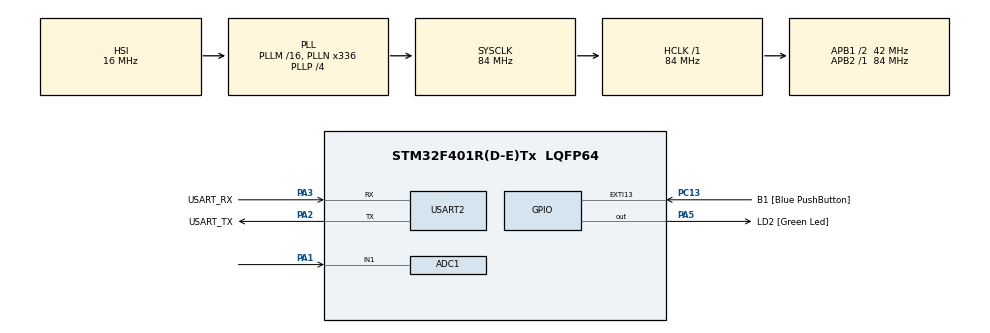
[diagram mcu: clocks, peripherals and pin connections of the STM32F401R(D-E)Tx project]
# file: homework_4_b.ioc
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ADC1.Channel-0\#ChannelRegularConversion=ADC_CHANNEL_1
ADC1.ExternalTrigConv=ADC_EXTERNALTRIGCONV_T2_TRGO
ADC1.NbrOfConversionFlag=1
ADC1.Rank-0\#ChannelRegularConversion=1
ADC1.SamplingTime-0\#ChannelRegularConversion=ADC_SAMPLETIME_480CYCLES
ADC1.master=1
Mcu.Family=STM32F4
Mcu.Name=STM32F401R(D-E)Tx
Mcu.Package=LQFP64
NVIC.ADC_IRQn=true\:0\:0\:false\:false\:true\:true\:true\:true
NVIC.PriorityGroup=NVIC_PRIORITYGROUP_0
PA1.Signal=SharedAnalog_PA1
PA13.GPIO_Label=TMS
PA13.Mode=Serial_Wire
PA13.Signal=SYS_JTMS-SWDIO
PA14.GPIO_Label=TCK
PA14.Mode=Serial_Wire
PA14.Signal=SYS_JTCK-SWCLK
PA2.GPIO_Label=USART_TX
PA2.GPIO_Mode=GPIO_MODE_AF_PP
PA2.GPIO_PuPd=GPIO_NOPULL
PA2.GPIO_Speed=GPIO_SPEED_FREQ_LOW
PA2.Mode=Asynchronous
PA2.Signal=USART2_TX
PA3.GPIO_Label=USART_RX
PA3.GPIO_Mode=GPIO_MODE_AF_PP
PA3.GPIO_PuPd=GPIO_NOPULL
PA3.GPIO_Speed=GPIO_SPEED_FREQ_LOW
PA3.Mode=Asynchronous
PA3.Signal=USART2_RX
PA5.GPIO_Label=LD2 [Green Led]
PA5.GPIO_Mode=GPIO_MODE_OUTPUT_PP
PA5.GPIO_PuPd=GPIO_NOPULL
PA5.GPIO_Speed=GPIO_SPEED_FREQ_LOW
PA5.Signal=GPIO_Output
PB3.GPIO_Label=SWO
PB3.Signal=SYS_JTDO-SWO
PC13-ANTI_TAMP.GPIO_Label=B1 [Blue PushButton]
PC13-ANTI_TAMP.GPIO_ModeDefaultEXTI=GPIO_MODE_IT_FALLING
PC13-ANTI_TAMP.GPIO_PuPd=GPIO_NOPULL
PC13-ANTI_TAMP.Signal=GPXTI13
PC14-OSC32_IN.Mode=LSE-External-Oscillator
PC14-OSC32_IN.Signal=RCC_OSC32_IN
PC15-OSC32_OUT.Mode=LSE-External-Oscillator
PC15-OSC32_OUT.Signal=RCC_OSC32_OUT
PH0\ -\ OSC_IN.Mode=HSE-External-Clock-Source
PH0\ -\ OSC_IN.Signal=RCC_OSC_IN
PH1\ -\ OSC_OUT.Mode=HSE-External-Clock-Source
PH1\ -\ OSC_OUT.Signal=RCC_OSC_OUT
ProjectManager.HeapSize=0x200
ProjectManager.StackSize=0x400
ProjectManager.TargetToolchain=STM32CubeIDE
RCC.48MHZClocksFreq_Value=48000000
RCC.AHBFreq_Value=84000000
RCC.APB1CLKDivider=RCC_HCLK_DIV2
RCC.APB1Freq_Value=42000000
RCC.APB1TimFreq_Value=84000000
RCC.APB2Freq_Value=84000000
RCC.APB2TimFreq_Value=84000000
RCC.CortexFreq_Value=84000000
RCC.HCLKFreq_Value=84000000
RCC.HSE_VALUE=8000000
RCC.HSI_VALUE=16000000
RCC.PLLN=336
RCC.PLLP=RCC_PLLP_DIV4
RCC.PLLQ=7
RCC.SYSCLKFreq_VALUE=84000000
RCC.SYSCLKSource=RCC_SYSCLKSOURCE_PLLCLK
RCC.VCOOutputFreq_Value=336000000
SH.SharedAnalog_PA1.0=GPIO_Analog
SH.SharedAnalog_PA1.1=ADC1_IN1,IN1
TIM2.AutoReloadPreload=TIM_AUTORELOAD_PRELOAD_ENABLE
TIM2.Period=84000000-1
TIM2.TIM_MasterOutputTrigger=TIM_TRGO_UPDATE
USART2.VirtualMode=VM_ASYNC
VP_TIM2_VS_ClockSourceINT.Mode=Internal
board=NUCLEO-F401RE

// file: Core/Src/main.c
/* USER CODE BEGIN Header */
/**
  ******************************************************************************
  * @file           : main.c
  * @brief          : Main program body
  ******************************************************************************
  * @attention
  *
  * Copyright (c) 2022 STMicroelectronics.
  * All rights reserved.
  *
  * This software is licensed under terms that can be found in the LICENSE file
  * in the root directory of this software component.
  * If no LICENSE file comes with this software, it is provided AS-IS.
  *
  ******************************************************************************
  */
/* USER CODE END Header */
#include "main.h"

/* USER CODE BEGIN Includes */
#include "stdio.h"
#include "string.h"
/* USER CODE END Includes */

/* USER CODE BEGIN PTD */
typedef enum {false, true} bool;
/* USER CODE END PTD */

ADC_HandleTypeDef hadc1;

TIM_HandleTypeDef htim2;

UART_HandleTypeDef huart2;

void SystemClock_Config(void);
static void MX_GPIO_Init(void);
static void MX_USART2_UART_Init(void);
static void MX_ADC1_Init(void);
static void MX_TIM2_Init(void);

/* USER CODE BEGIN 0 */
void HAL_ADC_ConvCpltCallback(ADC_HandleTypeDef* calling_adc){
  int conversion;
  int string_length;
  float voltage;
  char output_string[64];
  if(calling_adc==&hadc1){
    conversion=HAL_ADC_GetValue(&hadc1);
    voltage=conversion*3.3/4096.0;
    snprintf(output_string, sizeof(output_string), "Voltage: %f V\r\n", voltage);
    string_length=strlen(output_string);
    HAL_UART_Transmit(&huart2, output_string, string_length, 100);
    //HAL_ADC_Stop_IT(&hadc1);
  }
}
/* USER CODE END 0 */

int main(void)
{

  /* MCU Configuration--------------------------------------------------------*/

  /* Reset of all peripherals, Initializes the Flash interface and the Systick. */
  HAL_Init();

  /* Configure the system clock */
  SystemClock_Config();

  /* Initialize all configured peripherals */
  MX_GPIO_Init();
  MX_USART2_UART_Init();
  MX_ADC1_Init();
  MX_TIM2_Init();
  /* USER CODE BEGIN 2 */
  HAL_ADC_Start_IT(&hadc1);
  HAL_TIM_Base_Start(&htim2);
  /* USER CODE END 2 */

  /* Infinite loop */
  while (1)
  {

  }
}

void SystemClock_Config(void)
{
  RCC_OscInitTypeDef RCC_OscInitStruct = {0};
  RCC_ClkInitTypeDef RCC_ClkInitStruct = {0};

  /** Configure the main internal regulator output voltage
  */
  __HAL_RCC_PWR_CLK_ENABLE();
  __HAL_PWR_VOLTAGESCALING_CONFIG(PWR_REGULATOR_VOLTAGE_SCALE2);

  /** Initializes the RCC Oscillators according to the specified parameters
  * in the RCC_OscInitTypeDef structure.
  */
  RCC_OscInitStruct.OscillatorType = RCC_OSCILLATORTYPE_HSI;
  RCC_OscInitStruct.HSIState = RCC_HSI_ON;
  RCC_OscInitStruct.HSICalibrationValue = RCC_HSICALIBRATION_DEFAULT;
  RCC_OscInitStruct.PLL.PLLState = RCC_PLL_ON;
  RCC_OscInitStruct.PLL.PLLSource = RCC_PLLSOURCE_HSI;
  RCC_OscInitStruct.PLL.PLLM = 16;
  RCC_OscInitStruct.PLL.PLLN = 336;
  RCC_OscInitStruct.PLL.PLLP = RCC_PLLP_DIV4;
  RCC_OscInitStruct.PLL.PLLQ = 7;
  if (HAL_RCC_OscConfig(&RCC_OscInitStruct) != HAL_OK)
  {
    Error_Handler();
  }

  /** Initializes the CPU, AHB and APB buses clocks
  */
  RCC_ClkInitStruct.ClockType = RCC_CLOCKTYPE_HCLK|RCC_CLOCKTYPE_SYSCLK
                              |RCC_CLOCKTYPE_PCLK1|RCC_CLOCKTYPE_PCLK2;
  RCC_ClkInitStruct.SYSCLKSource = RCC_SYSCLKSOURCE_PLLCLK;
  RCC_ClkInitStruct.AHBCLKDivider = RCC_SYSCLK_DIV1;
  RCC_ClkInitStruct.APB1CLKDivider = RCC_HCLK_DIV2;
  RCC_ClkInitStruct.APB2CLKDivider = RCC_HCLK_DIV1;

  if (HAL_RCC_ClockConfig(&RCC_ClkInitStruct, FLASH_LATENCY_2) != HAL_OK)
  {
    Error_Handler();
  }
}

static void MX_ADC1_Init(void)
{

  ADC_ChannelConfTypeDef sConfig = {0};

  /** Configure the global features of the ADC (Clock, Resolution, Data Alignment and number of conversion)
  */
  hadc1.Instance = ADC1;
  hadc1.Init.ClockPrescaler = ADC_CLOCK_SYNC_PCLK_DIV4;
  hadc1.Init.Resolution = ADC_RESOLUTION_12B;
  hadc1.Init.ScanConvMode = DISABLE;
  hadc1.Init.ContinuousConvMode = DISABLE;
  hadc1.Init.DiscontinuousConvMode = DISABLE;
  hadc1.Init.ExternalTrigConvEdge = ADC_EXTERNALTRIGCONVEDGE_RISING;
  hadc1.Init.ExternalTrigConv = ADC_EXTERNALTRIGCONV_T2_TRGO;
  hadc1.Init.DataAlign = ADC_DATAALIGN_RIGHT;
  hadc1.Init.NbrOfConversion = 1;
  hadc1.Init.DMAContinuousRequests = DISABLE;
  hadc1.Init.EOCSelection = ADC_EOC_SINGLE_CONV;
  if (HAL_ADC_Init(&hadc1) != HAL_OK)
  {
    Error_Handler();
  }

  /** Configure for the selected ADC regular channel its corresponding rank in the sequencer and its sample time.
  */
  sConfig.Channel = ADC_CHANNEL_1;
  sConfig.Rank = 1;
  sConfig.SamplingTime = ADC_SAMPLETIME_480CYCLES;
  if (HAL_ADC_ConfigChannel(&hadc1, &sConfig) != HAL_OK)
  {
    Error_Handler();
  }

}

static void MX_TIM2_Init(void)
{

  TIM_ClockConfigTypeDef sClockSourceConfig = {0};
  TIM_MasterConfigTypeDef sMasterConfig = {0};

  htim2.Instance = TIM2;
  htim2.Init.Prescaler = 0;
  htim2.Init.CounterMode = TIM_COUNTERMODE_UP;
  htim2.Init.Period = 84000000-1;
  htim2.Init.ClockDivision = TIM_CLOCKDIVISION_DIV1;
  htim2.Init.AutoReloadPreload = TIM_AUTORELOAD_PRELOAD_ENABLE;
  if (HAL_TIM_Base_Init(&htim2) != HAL_OK)
  {
    Error_Handler();
  }
  sClockSourceConfig.ClockSource = TIM_CLOCKSOURCE_INTERNAL;
  if (HAL_TIM_ConfigClockSource(&htim2, &sClockSourceConfig) != HAL_OK)
  {
    Error_Handler();
  }
  sMasterConfig.MasterOutputTrigger = TIM_TRGO_UPDATE;
  sMasterConfig.MasterSlaveMode = TIM_MASTERSLAVEMODE_DISABLE;
  if (HAL_TIMEx_MasterConfigSynchronization(&htim2, &sMasterConfig) != HAL_OK)
  {
    Error_Handler();
  }

}

static void MX_USART2_UART_Init(void)
{

  huart2.Instance = USART2;
  huart2.Init.BaudRate = 115200;
  huart2.Init.WordLength = UART_WORDLENGTH_8B;
  huart2.Init.StopBits = UART_STOPBITS_1;
  huart2.Init.Parity = UART_PARITY_NONE;
  huart2.Init.Mode = UART_MODE_TX_RX;
  huart2.Init.HwFlowCtl = UART_HWCONTROL_NONE;
  huart2.Init.OverSampling = UART_OVERSAMPLING_16;
  if (HAL_UART_Init(&huart2) != HAL_OK)
  {
    Error_Handler();
  }

}

static void MX_GPIO_Init(void)
{
  GPIO_InitTypeDef GPIO_InitStruct = {0};

  /* GPIO Ports Clock Enable */
  __HAL_RCC_GPIOC_CLK_ENABLE();
  __HAL_RCC_GPIOH_CLK_ENABLE();
  __HAL_RCC_GPIOA_CLK_ENABLE();
  __HAL_RCC_GPIOB_CLK_ENABLE();

  /*Configure GPIO pin Output Level */
  HAL_GPIO_WritePin(LD2_GPIO_Port, LD2_Pin, GPIO_PIN_RESET);

  /*Configure GPIO pin : B1_Pin */
  GPIO_InitStruct.Pin = B1_Pin;
  GPIO_InitStruct.Mode = GPIO_MODE_IT_FALLING;
  GPIO_InitStruct.Pull = GPIO_NOPULL;
  HAL_GPIO_Init(B1_GPIO_Port, &GPIO_InitStruct);

  /*Configure GPIO pin : LD2_Pin */
  GPIO_InitStruct.Pin = LD2_Pin;
  GPIO_InitStruct.Mode = GPIO_MODE_OUTPUT_PP;
  GPIO_InitStruct.Pull = GPIO_NOPULL;
  GPIO_InitStruct.Speed = GPIO_SPEED_FREQ_LOW;
  HAL_GPIO_Init(LD2_GPIO_Port, &GPIO_InitStruct);

}

void Error_Handler(void)
{
  __disable_irq();
  while (1)
  {
  }
}
